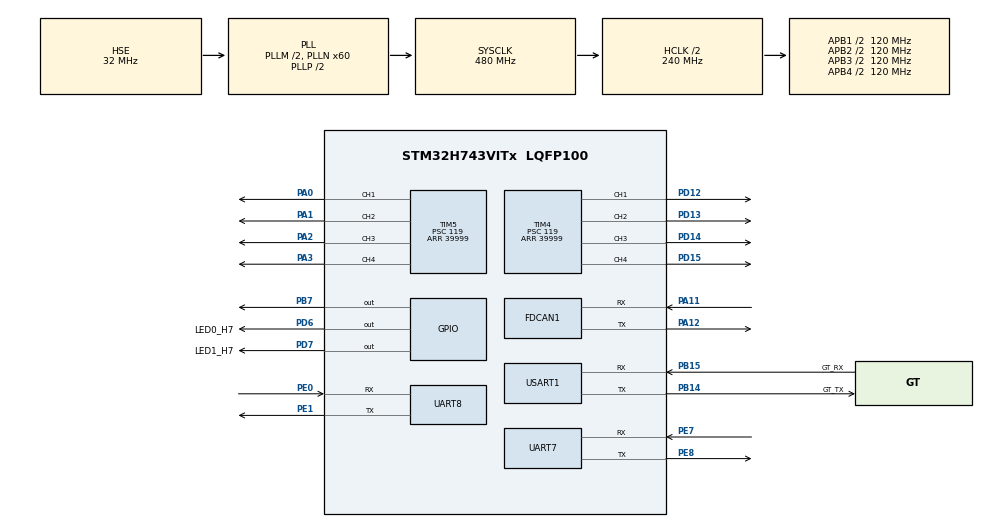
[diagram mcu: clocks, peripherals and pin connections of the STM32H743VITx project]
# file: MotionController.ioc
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CORTEX_M7.default_mode_Activation=1
Dma.Request0=UART8_RX
Dma.UART8_RX.0.Direction=DMA_PERIPH_TO_MEMORY
Dma.UART8_RX.0.EventEnable=DISABLE
Dma.UART8_RX.0.FIFOMode=DMA_FIFOMODE_DISABLE
Dma.UART8_RX.0.Instance=DMA1_Stream0
Dma.UART8_RX.0.MemDataAlignment=DMA_MDATAALIGN_BYTE
Dma.UART8_RX.0.MemInc=DMA_MINC_ENABLE
Dma.UART8_RX.0.Mode=DMA_NORMAL
Dma.UART8_RX.0.PeriphDataAlignment=DMA_PDATAALIGN_BYTE
Dma.UART8_RX.0.PeriphInc=DMA_PINC_DISABLE
Dma.UART8_RX.0.Polarity=HAL_DMAMUX_REQ_GEN_RISING
Dma.UART8_RX.0.Priority=DMA_PRIORITY_LOW
Dma.UART8_RX.0.RequestNumber=1
Dma.UART8_RX.0.SignalID=NONE
Dma.UART8_RX.0.SyncEnable=DISABLE
Dma.UART8_RX.0.SyncPolarity=HAL_DMAMUX_SYNC_NO_EVENT
Dma.UART8_RX.0.SyncRequestNumber=1
Dma.UART8_RX.0.SyncSignalID=NONE
FDCAN1.AutoRetransmission=ENABLE
FDCAN1.CalculateBaudRateNominal=1000000
FDCAN1.CalculateTimeBitNominal=1000
FDCAN1.CalculateTimeQuantumNominal=62.5
FDCAN1.DataPrescaler=2
FDCAN1.DataSyncJumpWidth=10
FDCAN1.DataTimeSeg1=10
FDCAN1.DataTimeSeg2=5
FDCAN1.ExtFiltersNbr=16
FDCAN1.FrameFormat=FDCAN_FRAME_FD_NO_BRS
FDCAN1.Mode=FDCAN_MODE_NORMAL
FDCAN1.NominalPrescaler=4
FDCAN1.NominalSyncJumpWidth=10
FDCAN1.NominalTimeSeg1=10
FDCAN1.NominalTimeSeg2=5
FDCAN1.RxBufferSize=FDCAN_DATA_BYTES_64
FDCAN1.RxFifo0ElmtSize=FDCAN_DATA_BYTES_64
FDCAN1.RxFifo0ElmtsNbr=32
FDCAN1.RxFifo1ElmtSize=FDCAN_DATA_BYTES_64
FDCAN1.StdFiltersNbr=16
FDCAN1.TxElmtSize=FDCAN_DATA_BYTES_64
FDCAN1.TxFifoQueueElmtsNbr=32
Mcu.Family=STM32H7
Mcu.Name=STM32H743VITx
Mcu.Package=LQFP100
NVIC.DMA1_Stream0_IRQn=true\:0\:0\:false\:false\:true\:false\:true\:true
NVIC.FDCAN1_IT0_IRQn=true\:0\:0\:true\:false\:true\:true\:true\:true
NVIC.PriorityGroup=NVIC_PRIORITYGROUP_2
NVIC.TIM1_UP_IRQn=true\:0\:0\:false\:false\:true\:true\:true\:true
NVIC.TIM2_IRQn=true\:0\:0\:true\:false\:true\:true\:true\:true
NVIC.TIM3_IRQn=true\:1\:0\:true\:false\:true\:true\:true\:true
NVIC.UART8_IRQn=true\:0\:0\:false\:false\:true\:true\:true\:true
NVIC.USART1_IRQn=true\:0\:0\:false\:false\:true\:true\:true\:true
PA0.Signal=S_TIM5_CH1
PA1.Signal=S_TIM5_CH2
PA11.Mode=FDCAN_Activate
PA11.Signal=FDCAN1_RX
PA12.Mode=FDCAN_Activate
PA12.Signal=FDCAN1_TX
PA13\ (JTMS/SWDIO).Mode=Serial_Wire
PA13\ (JTMS/SWDIO).Signal=DEBUG_JTMS-SWDIO
PA14\ (JTCK/SWCLK).Mode=Serial_Wire
PA14\ (JTCK/SWCLK).Signal=DEBUG_JTCK-SWCLK
PA2.Signal=S_TIM5_CH3
PA3.Signal=S_TIM5_CH4
PB14.GPIO_Label=GT_TX
PB14.GPIO_Speed=GPIO_SPEED_FREQ_HIGH
PB14.Mode=Asynchronous
PB14.Signal=USART1_TX
PB15.GPIO_Label=GT_RX
PB15.GPIO_Speed=GPIO_SPEED_FREQ_HIGH
PB15.Mode=Asynchronous
PB15.Signal=USART1_RX
PB7.Signal=GPIO_Output
PD12.Signal=S_TIM4_CH1
PD13.Signal=S_TIM4_CH2
PD14.Signal=S_TIM4_CH3
PD15.Signal=S_TIM4_CH4
PD6.GPIO_Label=LED0_H7
PD6.GPIO_Speed=GPIO_SPEED_FREQ_HIGH
PD6.PinState=GPIO_PIN_SET
PD6.Signal=GPIO_Output
PD7.GPIO_Label=LED1_H7
PD7.GPIO_Speed=GPIO_SPEED_FREQ_HIGH
PD7.PinState=GPIO_PIN_SET
PD7.Signal=GPIO_Output
PE0.Mode=Asynchronous
PE0.Signal=UART8_RX
PE1.Mode=Asynchronous
PE1.Signal=UART8_TX
PE7.Mode=Asynchronous
PE7.Signal=UART7_RX
PE8.Mode=Asynchronous
PE8.Signal=UART7_TX
PH0-OSC_IN\ (PH0).Mode=HSE-External-Oscillator
PH0-OSC_IN\ (PH0).Signal=RCC_OSC_IN
PH1-OSC_OUT\ (PH1).Mode=HSE-External-Oscillator
PH1-OSC_OUT\ (PH1).Signal=RCC_OSC_OUT
ProjectManager.HeapSize=0x200
ProjectManager.StackSize=0x400
ProjectManager.TargetToolchain=MDK-ARM V5.32
RCC.ADCFreq_Value=256000000
RCC.APB1Freq_Value=120000000
RCC.APB2Freq_Value=120000000
RCC.APB3Freq_Value=120000000
RCC.APB4Freq_Value=120000000
RCC.CortexFreq_Value=480000000
RCC.D1PPRE=RCC_APB3_DIV2
RCC.D2PPRE1=RCC_APB1_DIV2
RCC.D2PPRE2=RCC_APB2_DIV2
RCC.D3PPRE=RCC_APB4_DIV2
RCC.DIVM1=2
RCC.DIVM2=2
RCC.DIVM3=2
RCC.DIVN1=60
RCC.DIVN2=32
RCC.DIVN3=60
RCC.DIVQ1=3
RCC.DIVQ2=8
RCC.DIVQ3=8
RCC.FDCANCLockSelection=RCC_FDCANCLKSOURCE_PLL2
RCC.HCLKFreq_Value=240000000
RCC.HPRE=RCC_HCLK_DIV2
RCC.HSE_VALUE=32000000
RCC.PLL2FRACN=0
RCC.PLL3FRACN=0
RCC.PLLFRACN=0
RCC.PLLSourceVirtual=RCC_PLLSOURCE_HSE
RCC.SYSCLKFreq_VALUE=480000000
RCC.SYSCLKSource=RCC_SYSCLKSOURCE_PLLCLK
RCC.USART234578CLockSelection=RCC_USART234578CLKSOURCE_PLL3
RCC.USBFreq_Value=320000000
SH.S_TIM4_CH1.0=TIM4_CH1,PWM Generation1 CH1
SH.S_TIM4_CH2.0=TIM4_CH2,PWM Generation2 CH2
SH.S_TIM4_CH3.0=TIM4_CH3,PWM Generation3 CH3
SH.S_TIM4_CH4.0=TIM4_CH4,PWM Generation4 CH4
SH.S_TIM5_CH1.0=TIM5_CH1,PWM Generation1 CH1
SH.S_TIM5_CH2.0=TIM5_CH2,PWM Generation2 CH2
SH.S_TIM5_CH3.0=TIM5_CH3,PWM Generation3 CH3
SH.S_TIM5_CH4.0=TIM5_CH4,PWM Generation4 CH4
TIM1.Period=19999
TIM1.Prescaler=239
TIM2.Period=62499
TIM2.Prescaler=239
TIM3.Period=24999
TIM3.Prescaler=239
TIM4.Channel-PWM\ Generation1\ CH1=TIM_CHANNEL_1
TIM4.Channel-PWM\ Generation2\ CH2=TIM_CHANNEL_2
TIM4.Channel-PWM\ Generation3\ CH3=TIM_CHANNEL_3
TIM4.Channel-PWM\ Generation4\ CH4=TIM_CHANNEL_4
TIM4.Period=39999
TIM4.Prescaler=119
TIM5.Channel-PWM\ Generation1\ CH1=TIM_CHANNEL_1
TIM5.Channel-PWM\ Generation2\ CH2=TIM_CHANNEL_2
TIM5.Channel-PWM\ Generation3\ CH3=TIM_CHANNEL_3
TIM5.Channel-PWM\ Generation4\ CH4=TIM_CHANNEL_4
TIM5.Period=39999
TIM5.Prescaler=119
USART1.VirtualMode-Asynchronous=VM_ASYNC
VP_TIM1_VS_ClockSourceINT.Mode=Internal
VP_TIM2_VS_ClockSourceINT.Mode=Internal
VP_TIM3_VS_ClockSourceINT.Mode=Internal
VP_TIM4_VS_ClockSourceINT.Mode=Internal
VP_TIM5_VS_ClockSourceINT.Mode=Internal
board=custom

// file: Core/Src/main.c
/* USER CODE BEGIN Header */
/**
  ******************************************************************************
  * @file           : main.c
  * @brief          : Main program body
  ******************************************************************************
  * @attention
  *
  * Copyright (c) 2025 STMicroelectronics.
  * All rights reserved.
  *
  * This software is licensed under terms that can be found in the LICENSE file
  * in the root directory of this software component.
  * If no LICENSE file comes with this software, it is provided AS-IS.
  *
  ******************************************************************************
  */
/* USER CODE END Header */
#include "main.h"
#include "dma.h"
#include "fdcan.h"
#include "tim.h"
#include "usart.h"
#include "gpio.h"

/* USER CODE BEGIN Includes */
#include "motor.h"
#include "comm.h"
#include "thrust.h"
#include "usart.h"
#include "filter.h"

#include "autocontrol.h"

#include "cJSON.h"
#include "json_process.h"
#include "can_process.h"

#include <stdio.h>
#include <stdlib.h>
#include <string.h>
/* USER CODE END Includes */

/* USER CODE BEGIN PTD */
#define thrust_mean_filter_length 20
/* USER CODE END PTD */

/* USER CODE BEGIN PV */
CoordinateSystems robot;
CoordinateSystems target;

float Vx = 0, Vy = 0, Ry = 0, Tx = 0, Ty = 0, Tz = 0, Mx = 0, My = 0, Mz = 0;

CoordinateSystems robot_pos; // 真实的机器人

CoordinateSystems robot_im_pos;    // 假的水平的机器人,用于计算机器人水平位置误�?????????
CoordinateSystems robot_im_spd;    // 速度空间中的机器�?????????,用于计算机器人水平横移�?�前进�?�度
CoordinateSystems robot_im_thrust; // 推力空间中的的机器人,用于计算推力
CoordinateVector  required_thrust = {0, 0, 0, 0, 0, 0};

RobotController robot_controller;
float           openloop_thrust[6] = {0}; // 0~5 correspond x y z rx ry rz

MeanFilter meanfilter[6];

int led_motion   = 0;
int led_dataup   = 0;
int led_uart4    = 0;
int led_uart7    = 0;
int led_main     = 0;
int led_watchdog = 0;
int led_ms5837   = 0;

int threadmonitor_tim2  = 30;
int threadmonitor_tim3  = 30;
int threadmonitor_uart7 = 300;
int threadmonitor_uart8 = 300;

int start = 0;

uint8_t transbuf[157] = {0};

float measureddepth = 0;
float realdepth     = 0;
float startdepth    = 0;
float checkeddepth  = 0;

uint8_t debug_data[2];
/* USER CODE END PV */

void SystemClock_Config(void);
void PeriphCommonClock_Config(void);
static void MPU_Config(void);
/* USER CODE BEGIN PFP */
int fputc(int ch,FILE *f)
{
  uint8_t temp[1]={ch};
  HAL_UART_Transmit(&huart7,temp,1,2);
  return ch;
}
/* USER CODE END PFP */

/* USER CODE BEGIN 0 */
/*
 * 函数�????????????????: HAL_TIM_PeriodElapsedCallback
 * 描述  : 定时器中断处�????????????????
 * 输入  : TIM_HandleTypeDef *htim 定时器地�????????????????
 * 输出  : /
 * 备注  : 用于处理数据
 */
void HAL_TIM_PeriodElapsedCallback(TIM_HandleTypeDef *htim)
{
    static float motorthrust[6]        = {0}; // 0~5 correspond motor0~5
    static float askedthrust[6]        = {0};
    static float motorthrust_filted[6] = {0};

    //  1号定时器中断
    //  频率 20hz
    if (htim == (&htim1))
    { // watch dog
        threadmonitor_tim2--;
        threadmonitor_tim3--;
        threadmonitor_uart7--;
        threadmonitor_uart8--;

        if (threadmonitor_tim2 <= 0)
        {
            // __HAL_TIM_CLEAR_IT(&htim2, TIM_IT_UPDATE);
            // HAL_TIM_Base_Start_IT(&htim2);
            // threadmonitor_tim2 = 30;
        }
        if (threadmonitor_tim3 <= 0)
        {
            __HAL_TIM_CLEAR_IT(&htim3, TIM_IT_UPDATE);
            HAL_TIM_Base_Start_IT(&htim3);
            threadmonitor_tim3 = 30;
        }
        // if (threadmonitor_uart4 <= 0)
        // {
        //     HAL_UART_Receive_IT(&huart4, uart4rec.buf, 1);
        //     __HAL_UART_CLEAR_OREFLAG(&huart4);
        //     threadmonitor_uart4 = 30;
        // }
        if (threadmonitor_uart8 <= 0)
        {
            // MX_UART8_Init();
            // JSON_Process_Init();//防止卡死
            // HAL_UART_Receive_IT(&huart8, uart8rec.buf + uart8rec.cnt, 1);
            // threadmonitor_uart8 = 50;
        }
        // led
        // if (led_watchdog)
        //     HAL_GPIO_WritePin(GPIOD, GPIO_PIN_7, GPIO_PIN_SET);
        // else
        //     HAL_GPIO_WritePin(GPIOD, GPIO_PIN_7, GPIO_PIN_RESET);
        // led_watchdog = !led_watchdog;
    }
    //  2号定时器中断
    //  频率 16hz,数据上行
    else if (htim == (&htim2))
    {
        threadmonitor_tim3 = 20;

    //     memcpy(transbuf + 3, &(robot.base.vector), 24);
    //     // memcpy(transbuf + 27, &(robot.target_inbase.vector), 24);
    //     memcpy(transbuf + 27, &(robot_im_pos.target_inbase.vector), 12);
    //     memcpy(transbuf + 39, (uint8_t *)&(robot_pos.target_inbase.vector.rx), 12);

    //     memcpy(transbuf + 51, &(robot.target_inworld.vector), 24);
    //     memcpy(transbuf + 75, &(robot_controller.state), 6);
    //     memcpy(transbuf + 81, &(imu), 50);
    //     memcpy(transbuf + 131, &(motorthrust_filted), 24);

    //     // __HAL_UNLOCK(&huart4);
    //     HAL_UART_Transmit(&huart4, transbuf, 157, 10);

    //     // led
    //     if (led_dataup)
    //         HAL_GPIO_WritePin(GPIOD, GPIO_PIN_1, GPIO_PIN_SET);
    //     else
    //         HAL_GPIO_WritePin(GPIOD, GPIO_PIN_1, GPIO_PIN_RESET);
    //     led_dataup = !led_dataup;
    }
    //  3号定时器中断
    //  频率 30hz
    else if (htim == (&htim3))
    {
        threadmonitor_tim2 = 20;

        // // Cs data refresh
        // robot.base.vector.x  = imu.pos.x;
        // robot.base.vector.y  = imu.pos.y;
        // robot.base.vector.z  = imu.pos.z;
        // robot.base.vector.rx = imu.pos.rx;
        // robot.base.vector.ry = imu.pos.ry;
        // robot.base.vector.rz = imu.pos.rz;

        // // refresh CoordinateSystems
        // robot.base.extract(&(robot.base));

        // // Cs transform
        // robot.world2base(&robot);

        // // 计算各控制器�?????????�?????????测量值与误差值DF
        // // 机器人坐�?????????
        // robot_im_pos.base.vector.x = robot_pos.base.vector.x = imu.pos.x;
        // robot_im_pos.base.vector.y = robot_pos.base.vector.y = imu.pos.y;
        // robot_im_pos.base.vector.z = robot_pos.base.vector.z = imu.pos.z;

        // // 目标位置
        // robot_im_pos.target_inworld.vector.x = robot_pos.target_inworld.vector.x = robot.target_inworld.vector.x;
        // robot_im_pos.target_inworld.vector.y = robot_pos.target_inworld.vector.y = robot.target_inworld.vector.y;
        // robot_im_pos.target_inworld.vector.z = robot_pos.target_inworld.vector.z = robot.target_inworld.vector.z;
        // robot_im_pos.target_inworld.vector.rz = robot_pos.target_inworld.vector.rz = robot.target_inworld.vector.rz;
        // robot_im_pos.target_inworld.extract(&(robot_im_pos.target_inworld));

        // // 姿�??
        // robot_pos.base.vector.rx = imu.pos.rx;
        // robot_pos.base.vector.ry = imu.pos.ry;
        // robot_pos.base.vector.rz = imu.pos.rz;
        // robot_pos.base.extract(&(robot_pos.base));

        // robot_im_spd.base.vector.rx = robot_im_thrust.base.vector.rx = robot_pos.base.vector.rx;
        // robot_im_spd.base.vector.ry = robot_im_thrust.base.vector.ry = robot_pos.base.vector.ry;
        // robot_im_pos.base.vector.rz                                  = robot_pos.base.vector.rz;

        // // 导出各参考系变换器对象的基底矩阵
        // robot_im_pos.base.extract(&(robot_im_pos.base));
        // robot_im_spd.base.extract(&(robot_im_spd.base));
        // robot_im_thrust.base.extract(&(robot_im_thrust.base));

        // // 计算机器人的水平横移与前进�?�度
        // robot_im_spd.target_inbase.vector.x = imu.spd.x;
        // robot_im_spd.target_inbase.vector.y = imu.spd.y;
        // robot_im_spd.target_inbase.vector.z = imu.spd.z;
        // robot_im_spd.target_inbase.extract(&(robot_im_spd.target_inbase));
        // robot_im_spd.base2world(&robot_im_spd);

        // // 计算机器人参考系中的水平误差（横向与前向�?????????
        // robot_im_pos.world2base(&robot_im_pos);

        // Pid controller refresh
        if (robot_controller.state[0] == 1) // x
            Tx = robot_controller.x.refresh(&robot_controller.x, robot_im_pos.target_inbase.vector.x);
        else
            Tx = openloop_thrust[0];

        if (robot_controller.state[1] == 1) // y
            Ty = robot_controller.y.refresh(&robot_controller.y, robot_im_pos.target_inbase.vector.y);
        else
            Ty = openloop_thrust[1];

        if (robot_controller.state[2] == 1) // z
            Tz = robot_controller.z.refresh(&robot_controller.z, robot_im_pos.target_inbase.vector.z);
        else
            Tz = openloop_thrust[2];

        // 姿�?�控制器
        robot_pos.target_inworld.vector.ry = Ry;
        robot_pos.target_inworld.extract(&(robot_pos.target_inworld));
        robot_pos.world2base(&robot_pos);

        if (robot_controller.state[3] == 1) // rx
            //Mx = robot_controller.rx.refresh(&robot_controller.rx, AngleCorrect(robot_pos.target_inbase.vector.rx));
            Mx = 0;
        else
            //Mx = openloop_thrust[3];
            Mx = 0;
        if (robot_controller.state[4] == 1) // ry
            My = robot_controller.ry.refresh(&robot_controller.ry, AngleCorrect(robot_pos.target_inbase.vector.ry));
        else
            My = openloop_thrust[4];

        if (robot_controller.state[5] == 1) // rz
            Mz = robot_controller.rz.refresh(&robot_controller.rz, AngleCorrect(robot_pos.target_inbase.vector.rz));
        else
            Mz = openloop_thrust[5];

        // 推力换算
        // Tx = NEGATIVE_BUOYANCY * tan(robot_pos.base.vector.ry * deg2rad);

        robot_im_thrust.target_inworld.vector.x = Tx;
        robot_im_thrust.target_inworld.vector.y = Ty;
        robot_im_thrust.target_inworld.vector.z = Tz;
        robot_im_thrust.target_inworld.extract(&(robot_im_thrust.target_inworld));
        robot_im_thrust.world2base(&robot_im_thrust);

        askedthrust[0] = robot_im_thrust.target_inbase.vector.x;
        askedthrust[1] = robot_im_thrust.target_inbase.vector.y;
        askedthrust[2] = robot_im_thrust.target_inbase.vector.z;

        robot_im_thrust.target_inworld.vector.x = Mx;
        robot_im_thrust.target_inworld.vector.y = My;
        robot_im_thrust.target_inworld.vector.z = Mz;
        robot_im_thrust.target_inworld.extract(&(robot_im_thrust.target_inworld));
        robot_im_thrust.world2base(&robot_im_thrust);

        askedthrust[3] = robot_im_thrust.target_inbase.vector.x;
        askedthrust[4] = robot_im_thrust.target_inbase.vector.y;
        askedthrust[5] = robot_im_thrust.target_inbase.vector.z;

        // allocate thrust
        ThrustAllocate(askedthrust, motorthrust);

        // thrust filter
        // for (int i = 0; i < 6; i++) { motorthrust_filted[i] = meanfilter[i].refresh(&(meanfilter[i]), motorthrust[i]); }
        for (int i = 0; i < 6; i++) { motorthrust_filted[i] = motorthrust[i]; }

        // Convert thrust signal to PWM signal
        MotorPwmRefresh(motorthrust_filted);

        // led
        if (led_motion)
            HAL_GPIO_WritePin(GPIOD, GPIO_PIN_6, GPIO_PIN_SET);
        else
            HAL_GPIO_WritePin(GPIOD, GPIO_PIN_6, GPIO_PIN_RESET);
        led_motion = !led_motion;
    }
}
/* USER CODE END 0 */

int main(void)
{

  /* MPU Configuration--------------------------------------------------------*/
  MPU_Config();

  /* MCU Configuration--------------------------------------------------------*/

  /* Reset of all peripherals, Initializes the Flash interface and the Systick. */
  HAL_Init();

  /* Configure the system clock */
  SystemClock_Config();

  /* Configure the peripherals common clocks */
  PeriphCommonClock_Config();

  /* Initialize all configured peripherals */
  MX_GPIO_Init();
  MX_DMA_Init();
  MX_UART7_Init();
  MX_UART8_Init();
  MX_TIM1_Init();
  MX_TIM2_Init();
  MX_TIM3_Init();
  MX_TIM4_Init();
  MX_FDCAN1_Init();
  MX_TIM5_Init();
  MX_USART1_UART_Init();
  /* USER CODE BEGIN 2 */
// uart it start
  CommInit();
  FDCAN1_Config();
  JSON_Process_Init();

  // motor init
  MotorInit();
  HAL_Delay(50);

// Data init
  CoordinateSystems_Init(&robot);  // Robot CS
  CoordinateSystems_Init(&target); // target CS

// 机器人描述矩阵初始化
    CoordinateSystems_Init(&robot_pos);
    CoordinateSystems_Init(&robot_im_pos);
    CoordinateSystems_Init(&robot_im_spd);
    CoordinateSystems_Init(&robot_im_thrust);

    robot_controller.state[0] = robot_controller.state[1] = robot_controller.state[2] = 0;
    robot_controller.state[3] = robot_controller.state[4] = robot_controller.state[5] = 0;
    PositionalPID_Init(&(robot_controller.x), 0, 0, 0, 0, 0);  // X pid controller
    PositionalPID_Init(&(robot_controller.y), 0, 0, 0, 0, 0);  // y pid controller
    PositionalPID_Init(&(robot_controller.z), 0, 0, 0, 0, 0);  // z pid controller
    PositionalPID_Init(&(robot_controller.rx), 0, 0, 0, 0, 0); // pitch pid controller
    PositionalPID_Init(&(robot_controller.ry), 0, 0, 0, 0, 0); // roll pid controller
    PositionalPID_Init(&(robot_controller.rz), 0, 0, 0, 0, 0); // yaw pid controller
    transbuf[0]   = 0xfa;
    transbuf[1]   = 0xaf;
    transbuf[2]   = 0x00;
    transbuf[155] = 0xfb;
    transbuf[156] = 0xbf;

    MeanFilter_Init(&(meanfilter[0]), thrust_mean_filter_length);
    MeanFilter_Init(&(meanfilter[1]), thrust_mean_filter_length);
    MeanFilter_Init(&(meanfilter[2]), thrust_mean_filter_length);
    MeanFilter_Init(&(meanfilter[3]), thrust_mean_filter_length);
    MeanFilter_Init(&(meanfilter[4]), thrust_mean_filter_length);
    MeanFilter_Init(&(meanfilter[5]), thrust_mean_filter_length);

    ThrustCurveInit(&(thrustcurve[0]));
    ThrustCurveInit(&(thrustcurve[1]));
    ThrustCurveInit(&(thrustcurve[2]));
    ThrustCurveInit(&(thrustcurve[3]));
    ThrustCurveInit(&(thrustcurve[4]));
    ThrustCurveInit(&(thrustcurve[5]));
  // start data process
  HAL_TIM_Base_Start_IT(&htim1);
  HAL_TIM_Base_Start_IT(&htim2);
  HAL_TIM_Base_Start_IT(&htim3);
  //uint8_t txbit[] = "hello world\r\n";

  // printf("H743 Ready\r\n");
  /* USER CODE END 2 */

  /* Infinite loop */
  while (1)
  {

  }
}

void SystemClock_Config(void)
{
  RCC_OscInitTypeDef RCC_OscInitStruct = {0};
  RCC_ClkInitTypeDef RCC_ClkInitStruct = {0};

  /** Supply configuration update enable
  */
  HAL_PWREx_ConfigSupply(PWR_LDO_SUPPLY);

  /** Configure the main internal regulator output voltage
  */
  __HAL_PWR_VOLTAGESCALING_CONFIG(PWR_REGULATOR_VOLTAGE_SCALE0);

  while(!__HAL_PWR_GET_FLAG(PWR_FLAG_VOSRDY)) {}

  /** Initializes the RCC Oscillators according to the specified parameters
  * in the RCC_OscInitTypeDef structure.
  */
  RCC_OscInitStruct.OscillatorType = RCC_OSCILLATORTYPE_HSE;
  RCC_OscInitStruct.HSEState = RCC_HSE_ON;
  RCC_OscInitStruct.PLL.PLLState = RCC_PLL_ON;
  RCC_OscInitStruct.PLL.PLLSource = RCC_PLLSOURCE_HSE;
  RCC_OscInitStruct.PLL.PLLM = 2;
  RCC_OscInitStruct.PLL.PLLN = 60;
  RCC_OscInitStruct.PLL.PLLP = 2;
  RCC_OscInitStruct.PLL.PLLQ = 3;
  RCC_OscInitStruct.PLL.PLLR = 2;
  RCC_OscInitStruct.PLL.PLLRGE = RCC_PLL1VCIRANGE_3;
  RCC_OscInitStruct.PLL.PLLVCOSEL = RCC_PLL1VCOWIDE;
  RCC_OscInitStruct.PLL.PLLFRACN = 0;
  if (HAL_RCC_OscConfig(&RCC_OscInitStruct) != HAL_OK)
  {
    Error_Handler();
  }

  /** Initializes the CPU, AHB and APB buses clocks
  */
  RCC_ClkInitStruct.ClockType = RCC_CLOCKTYPE_HCLK|RCC_CLOCKTYPE_SYSCLK
                              |RCC_CLOCKTYPE_PCLK1|RCC_CLOCKTYPE_PCLK2
                              |RCC_CLOCKTYPE_D3PCLK1|RCC_CLOCKTYPE_D1PCLK1;
  RCC_ClkInitStruct.SYSCLKSource = RCC_SYSCLKSOURCE_PLLCLK;
  RCC_ClkInitStruct.SYSCLKDivider = RCC_SYSCLK_DIV1;
  RCC_ClkInitStruct.AHBCLKDivider = RCC_HCLK_DIV2;
  RCC_ClkInitStruct.APB3CLKDivider = RCC_APB3_DIV2;
  RCC_ClkInitStruct.APB1CLKDivider = RCC_APB1_DIV2;
  RCC_ClkInitStruct.APB2CLKDivider = RCC_APB2_DIV2;
  RCC_ClkInitStruct.APB4CLKDivider = RCC_APB4_DIV2;

  if (HAL_RCC_ClockConfig(&RCC_ClkInitStruct, FLASH_LATENCY_4) != HAL_OK)
  {
    Error_Handler();
  }
}

void PeriphCommonClock_Config(void)
{
  RCC_PeriphCLKInitTypeDef PeriphClkInitStruct = {0};

  /** Initializes the peripherals clock
  */
  PeriphClkInitStruct.PeriphClockSelection = RCC_PERIPHCLK_UART8|RCC_PERIPHCLK_UART7;
  PeriphClkInitStruct.PLL3.PLL3M = 2;
  PeriphClkInitStruct.PLL3.PLL3N = 60;
  PeriphClkInitStruct.PLL3.PLL3P = 2;
  PeriphClkInitStruct.PLL3.PLL3Q = 8;
  PeriphClkInitStruct.PLL3.PLL3R = 2;
  PeriphClkInitStruct.PLL3.PLL3RGE = RCC_PLL3VCIRANGE_3;
  PeriphClkInitStruct.PLL3.PLL3VCOSEL = RCC_PLL3VCOWIDE;
  PeriphClkInitStruct.PLL3.PLL3FRACN = 0;
  PeriphClkInitStruct.Usart234578ClockSelection = RCC_USART234578CLKSOURCE_PLL3;
  if (HAL_RCCEx_PeriphCLKConfig(&PeriphClkInitStruct) != HAL_OK)
  {
    Error_Handler();
  }
}

 /* MPU Configuration */

void MPU_Config(void)
{
  MPU_Region_InitTypeDef MPU_InitStruct = {0};

  /* Disables the MPU */
  HAL_MPU_Disable();

  /** Initializes and configures the Region and the memory to be protected
  */
  MPU_InitStruct.Enable = MPU_REGION_ENABLE;
  MPU_InitStruct.Number = MPU_REGION_NUMBER0;
  MPU_InitStruct.BaseAddress = 0x0;
  MPU_InitStruct.Size = MPU_REGION_SIZE_4GB;
  MPU_InitStruct.SubRegionDisable = 0x87;
  MPU_InitStruct.TypeExtField = MPU_TEX_LEVEL0;
  MPU_InitStruct.AccessPermission = MPU_REGION_NO_ACCESS;
  MPU_InitStruct.DisableExec = MPU_INSTRUCTION_ACCESS_DISABLE;
  MPU_InitStruct.IsShareable = MPU_ACCESS_SHAREABLE;
  MPU_InitStruct.IsCacheable = MPU_ACCESS_NOT_CACHEABLE;
  MPU_InitStruct.IsBufferable = MPU_ACCESS_NOT_BUFFERABLE;

  HAL_MPU_ConfigRegion(&MPU_InitStruct);
  /* Enables the MPU */
  HAL_MPU_Enable(MPU_PRIVILEGED_DEFAULT);

}

void Error_Handler(void)
{
  __disable_irq();
  while (1)
  {
  }
}
